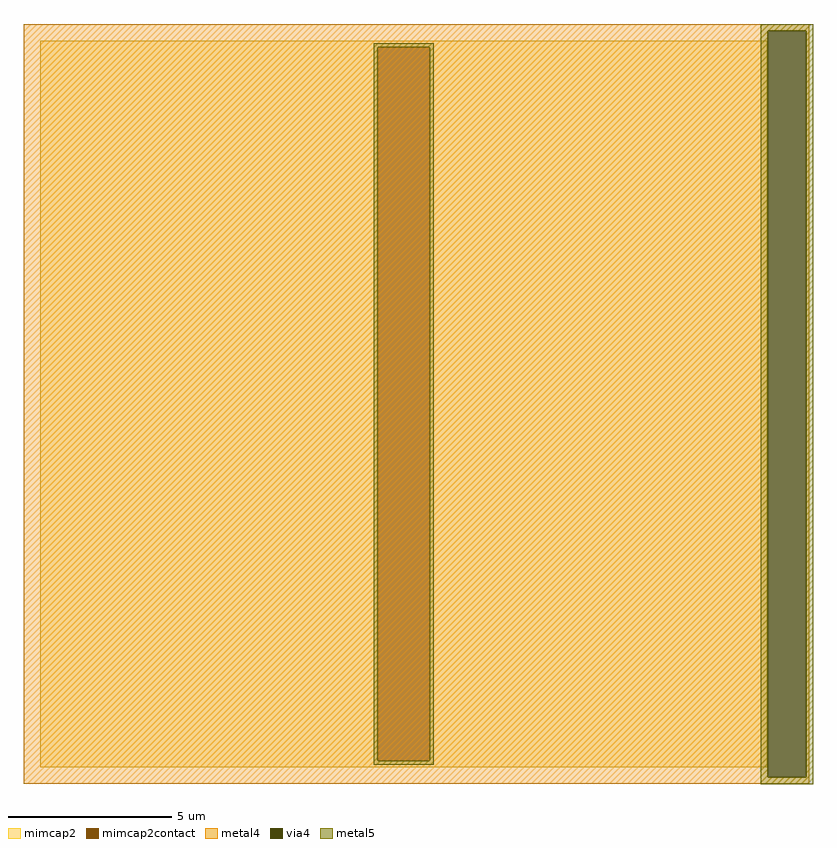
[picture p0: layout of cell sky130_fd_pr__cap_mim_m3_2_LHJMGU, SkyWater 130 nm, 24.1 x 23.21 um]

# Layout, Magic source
magic
tech sky130A
magscale 1 2
<< metal4 >>
rect -2399 2279 2399 2320
rect -2399 -2279 2143 2279
rect 2379 -2279 2399 2279
rect -2399 -2320 2399 -2279
<< via4 >>
rect 2143 -2279 2379 2279
<< mimcap2 >>
rect -2299 2180 2141 2220
rect -2299 -2180 -239 2180
rect 81 -2180 2141 2180
rect -2299 -2220 2141 -2180
<< mimcap2contact >>
rect -239 -2180 81 2180
<< metal5 >>
rect 2101 2279 2421 2321
rect -263 2180 105 2204
rect -263 -2180 -239 2180
rect 81 -2180 105 2180
rect -263 -2204 105 -2180
rect 2101 -2279 2143 2279
rect 2379 -2279 2421 2279
rect 2101 -2321 2421 -2279
<< properties >>
string gencell sky130_fd_pr__cap_mim_m3_2
string FIXED_BBOX -2399 -2320 2241 2320
string parameters w 22.2 l 22.2 val 1.002k carea 2.00 cperi 0.19 nx 1 ny 1 dummy 0 square 0 lmin 2.00 wmin 2.00 lmax 30.0 wmax 30.0 dc 0 bconnect 1 tconnect 1 ccov 5
string library sky130
<< end >>
